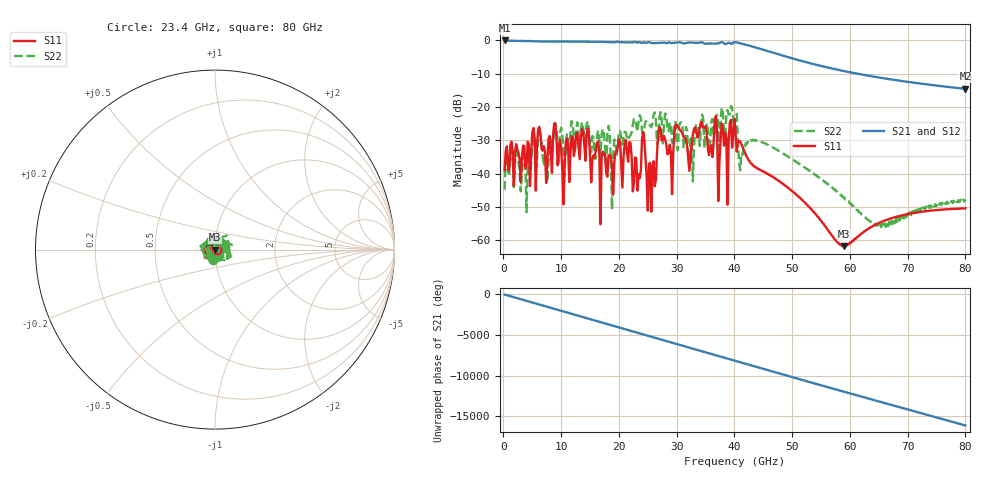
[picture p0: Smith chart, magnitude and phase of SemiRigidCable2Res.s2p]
! File created by SignalIntegrity v1.1.9: Signal and Power Integrity Tools
! https://github.com/TeledyneLeCroy/SignalIntegrity
# MHz MA S R 50.0
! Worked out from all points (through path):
!   400 points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, 200 MHz to 80 GHz, reference 50 ohm
!   highest |S21| = -0.05 dB at 200 MHz (marker M1); lowest = -14.6 dB at 80 GHz (marker M2)
!   lowest |S11| = -61.8 dB at 59 GHz (marker M3), VSWR 1.00, Z = 50 - j0.0794 ohm
!   |S11| at or under -10 dB: start of sweep to end of sweep
!   |S22| runs from -56.1 to -19.7 dB; largest |S21 - S12| = 6.3e-05
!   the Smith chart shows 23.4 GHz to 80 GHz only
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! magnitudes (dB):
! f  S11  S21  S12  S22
! 200 MHz  -39.0  -0.1  -0.1  -44.9
! 8.8 GHz  -24.9  -0.4  -0.4  -26.1
! 10.4 GHz  -49.3  -0.4  -0.4  -33.2
! 13.6 GHz  -26.6  -0.4  -0.4  -24.7
! 16.4 GHz  -30.4  -0.4  -0.4  -27.1
! 16.8 GHz  -55.2  -0.5  -0.5  -34.4
! 17.2 GHz  -33.4  -0.5  -0.5  -26.7
! 18.8 GHz  -38.2  -0.6  -0.6  -50.8
! 19.2 GHz  -36.4  -0.6  -0.6  -29.8
! 24.2 GHz  -27.5  -0.7  -0.7  -29.7
! 25.6 GHz  -51.5  -0.8  -0.8  -26.1
! 26.8 GHz  -28.5  -0.8  -0.8  -30.2
! 29.2 GHz  -46.2  -0.8  -0.8  -30.7
! 36.8 GHz  -22.8  -1.0  -1.0  -22.8
! 37.2 GHz  -48.3  -0.9  -0.9  -25.3
! 37.8 GHz  -25.0  -0.6  -0.6  -20.2
! 38.8 GHz  -49.4  -0.9  -0.9  -21.0
! 40.2 GHz  -28.1  -0.6  -0.6  -22.6
! 53.4 GHz  -50.8  -7.0  -7.0  -39.6
! 59 GHz  -61.8  -9.3  -9.3  -47.1
! 66.8 GHz  -53.6  -11.7  -11.7  -54.5
! 80 GHz  -50.5  -14.6  -14.6  -47.8
